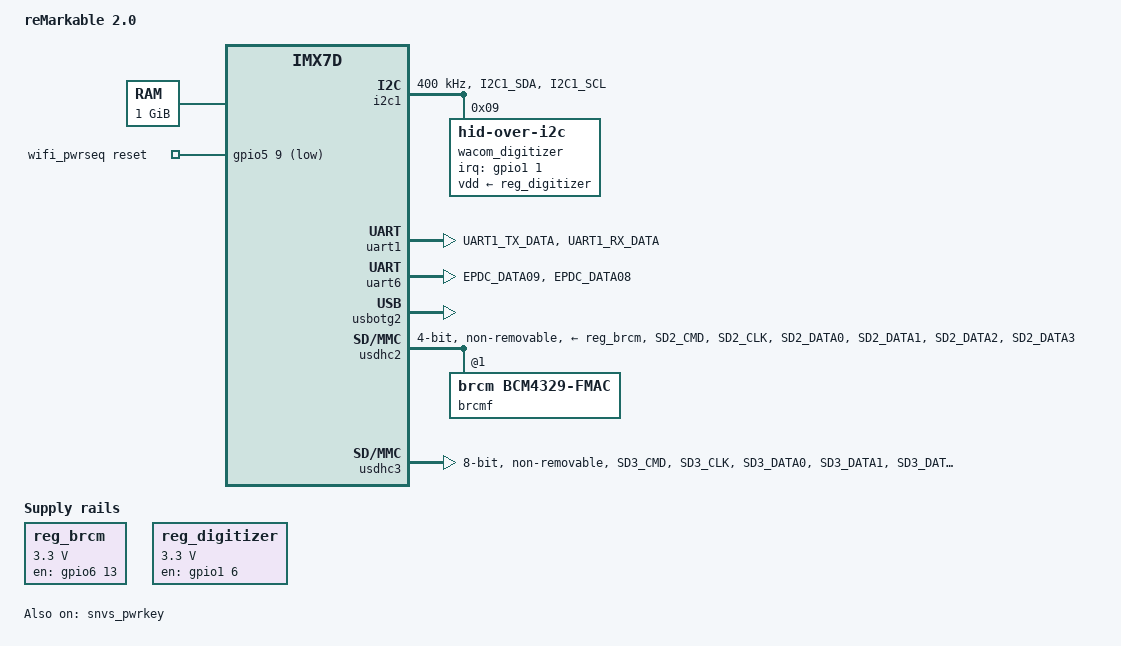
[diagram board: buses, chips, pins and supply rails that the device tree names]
// SPDX-License-Identifier: (GPL-2.0+ OR MIT)
/*
 * Copyright (C) 2015 Freescale Semiconductor, Inc.
 * Copyright (C) 2019 reMarkable AS - http://www.remarkable.com/
 *
 */

/dts-v1/;

#include "imx7d.dtsi"

/ {
	model = "reMarkable 2.0";
	compatible = "remarkable,imx7d-remarkable2", "fsl,imx7d";

	chosen {
		stdout-path = &uart6;
	};

	memory@80000000 {
		device_type = "memory";
		reg = <0x80000000 0x40000000>;
	};

	reg_brcm: regulator-brcm {
		compatible = "regulator-fixed";
		regulator-name = "brcm_reg";
		regulator-min-microvolt = <3300000>;
		regulator-max-microvolt = <3300000>;
		pinctrl-names = "default";
		pinctrl-0 = <&pinctrl_brcm_reg>;
		gpio = <&gpio6 13 GPIO_ACTIVE_HIGH>;
		enable-active-high;
		startup-delay-us = <150>;
	};

	reg_digitizer: regulator-digitizer {
		compatible = "regulator-fixed";
		regulator-name = "VDD_3V3_DIGITIZER";
		regulator-min-microvolt = <3300000>;
		regulator-max-microvolt = <3300000>;
		pinctrl-names = "default", "sleep";
		pinctrl-0 = <&pinctrl_digitizer_reg>;
		pinctrl-1 = <&pinctrl_digitizer_reg>;
		gpio = <&gpio1 6 GPIO_ACTIVE_HIGH>;
		enable-active-high;
		startup-delay-us = <100000>; /* 100 ms */
	};

	wifi_pwrseq: wifi_pwrseq {
		compatible = "mmc-pwrseq-simple";
		pinctrl-names = "default";
		pinctrl-0 = <&pinctrl_wifi>;
		reset-gpios = <&gpio5 9 GPIO_ACTIVE_LOW>;
		clocks = <&clks IMX7D_CLKO2_ROOT_DIV>;
		clock-names = "ext_clock";
	};
};

&clks {
	assigned-clocks = <&clks IMX7D_CLKO2_ROOT_SRC>,
			  <&clks IMX7D_CLKO2_ROOT_DIV>;
	assigned-clock-parents = <&clks IMX7D_CKIL>;
	assigned-clock-rates = <0>, <32768>;
};

&i2c1 {
	clock-frequency = <400000>;
	pinctrl-names = "default";
	pinctrl-0 = <&pinctrl_i2c1>;
	status = "okay";

	wacom_digitizer: digitizer@9 {
		compatible = "hid-over-i2c";
		reg = <0x09>;
		hid-descr-addr = <0x01>;
		pinctrl-names = "default";
		pinctrl-0 = <&pinctrl_wacom>;
		interrupt-parent = <&gpio1>;
		interrupts = <1 IRQ_TYPE_LEVEL_LOW>;
		touchscreen-inverted-x;
		touchscreen-inverted-y;
		vdd-supply = <&reg_digitizer>;
	};
};

&snvs_pwrkey {
	status = "okay";
};

&uart1 {
	pinctrl-names = "default";
	pinctrl-0 = <&pinctrl_uart1>;
	assigned-clocks = <&clks IMX7D_UART1_ROOT_SRC>;
	assigned-clock-parents = <&clks IMX7D_OSC_24M_CLK>;
	status = "okay";
};

&uart6 {
	pinctrl-names = "default";
	pinctrl-0 = <&pinctrl_uart6>;
	assigned-clocks = <&clks IMX7D_UART6_ROOT_SRC>;
	assigned-clock-parents = <&clks IMX7D_OSC_24M_CLK>;
	status = "okay";
};

&usbotg2 {
	srp-disable;
	hnp-disable;
	status = "okay";
};

&usdhc2 {
	#address-cells = <1>;
	#size-cells = <0>;
	pinctrl-names = "default", "state_100mhz", "state_200mhz", "sleep";
	pinctrl-0 = <&pinctrl_usdhc2>;
	pinctrl-1 = <&pinctrl_usdhc2_100mhz>;
	pinctrl-2 = <&pinctrl_usdhc2_200mhz>;
	mmc-pwrseq = <&wifi_pwrseq>;
	vmmc-supply = <&reg_brcm>;
	bus-width = <4>;
	non-removable;
	keep-power-in-suspend;
	cap-power-off-card;
	status = "okay";

	brcmf: bcrmf@1 {
		reg = <1>;
		compatible = "brcm,bcm4329-fmac";
	};
};

&usdhc3 {
	pinctrl-names = "default", "state_100mhz", "state_200mhz", "sleep";
	pinctrl-0 = <&pinctrl_usdhc3>;
	pinctrl-1 = <&pinctrl_usdhc3_100mhz>;
	pinctrl-2 = <&pinctrl_usdhc3_200mhz>;
	pinctrl-3 = <&pinctrl_usdhc3>;
	assigned-clocks = <&clks IMX7D_USDHC3_ROOT_CLK>;
	assigned-clock-rates = <400000000>;
	bus-width = <8>;
	non-removable;
	status = "okay";
};

&wdog1 {
	pinctrl-names = "default";
	pinctrl-0 = <&pinctrl_wdog>;
	fsl,ext-reset-output;
};

&iomuxc_lpsr {
	pinctrl_digitizer_reg: digitizerreggrp {
		fsl,pins = <
			/* DIGITIZER_PWR_EN */
			MX7D_PAD_LPSR_GPIO1_IO06__GPIO1_IO6	0x14
		>;
	};

	pinctrl_wacom: wacomgrp {
		fsl,pins = <
			/*MX7D_PAD_LPSR_GPIO1_IO05__GPIO1_IO5	0x00000014 FWE */
			MX7D_PAD_LPSR_GPIO1_IO04__GPIO1_IO4	0x00000074 /* PDCTB */
			MX7D_PAD_LPSR_GPIO1_IO01__GPIO1_IO1	0x00000034 /* WACOM INT */
			/*MX7D_PAD_LPSR_GPIO1_IO06__GPIO1_IO6	0x00000014 WACOM PWR ENABLE */
			/*MX7D_PAD_LPSR_GPIO1_IO00__GPIO1_IO0	0x00000074 WACOM RESET */
		>;
	};
};

&iomuxc {
	pinctrl_brcm_reg: brcmreggrp {
		fsl,pins = <
			/* WIFI_PWR_EN */
			MX7D_PAD_SAI1_TX_BCLK__GPIO6_IO13	0x14
		>;
	};

	pinctrl_i2c1: i2c1grp {
		fsl,pins = <
			MX7D_PAD_I2C1_SDA__I2C1_SDA		0x4000007f
			MX7D_PAD_I2C1_SCL__I2C1_SCL		0x4000007f
		>;
	};

	pinctrl_uart1: uart1grp {
		fsl,pins = <
			MX7D_PAD_UART1_TX_DATA__UART1_DCE_TX	0x79
			MX7D_PAD_UART1_RX_DATA__UART1_DCE_RX	0x79
		>;
	};

	pinctrl_uart6: uart6grp {
		fsl,pins = <
			MX7D_PAD_EPDC_DATA09__UART6_DCE_TX		0x79
			MX7D_PAD_EPDC_DATA08__UART6_DCE_RX		0x79
		>;
	};

	pinctrl_usdhc2: usdhc2grp {
		fsl,pins = <
			MX7D_PAD_SD2_CMD__SD2_CMD		0x59
			MX7D_PAD_SD2_CLK__SD2_CLK		0x19
			MX7D_PAD_SD2_DATA0__SD2_DATA0		0x59
			MX7D_PAD_SD2_DATA1__SD2_DATA1		0x59
			MX7D_PAD_SD2_DATA2__SD2_DATA2		0x59
			MX7D_PAD_SD2_DATA3__SD2_DATA3		0x59
		>;
	};

	pinctrl_usdhc2_100mhz: usdhc2grp_100mhz {
		fsl,pins = <
			MX7D_PAD_SD2_CMD__SD2_CMD		0x5a
			MX7D_PAD_SD2_CLK__SD2_CLK		0x1a
			MX7D_PAD_SD2_DATA0__SD2_DATA0		0x5a
			MX7D_PAD_SD2_DATA1__SD2_DATA1		0x5a
			MX7D_PAD_SD2_DATA2__SD2_DATA2		0x5a
			MX7D_PAD_SD2_DATA3__SD2_DATA3		0x5a
		>;
	};

	pinctrl_usdhc2_200mhz: usdhc2grp_200mhz {
		fsl,pins = <
			MX7D_PAD_SD2_CMD__SD2_CMD		0x5b
			MX7D_PAD_SD2_CLK__SD2_CLK		0x1b
			MX7D_PAD_SD2_DATA0__SD2_DATA0		0x5b
			MX7D_PAD_SD2_DATA1__SD2_DATA1		0x5b
			MX7D_PAD_SD2_DATA2__SD2_DATA2		0x5b
			MX7D_PAD_SD2_DATA3__SD2_DATA3		0x5b
		>;
	};

	pinctrl_usdhc3: usdhc3grp {
		fsl,pins = <
			MX7D_PAD_SD3_CMD__SD3_CMD		0x59
			MX7D_PAD_SD3_CLK__SD3_CLK		0x19
			MX7D_PAD_SD3_DATA0__SD3_DATA0		0x59
			MX7D_PAD_SD3_DATA1__SD3_DATA1		0x59
			MX7D_PAD_SD3_DATA2__SD3_DATA2		0x59
			MX7D_PAD_SD3_DATA3__SD3_DATA3		0x59
			MX7D_PAD_SD3_DATA4__SD3_DATA4		0x59
			MX7D_PAD_SD3_DATA5__SD3_DATA5		0x59
			MX7D_PAD_SD3_DATA6__SD3_DATA6		0x59
			MX7D_PAD_SD3_DATA7__SD3_DATA7		0x59
			MX7D_PAD_SD3_STROBE__SD3_STROBE		0x19
		>;
	};

	pinctrl_usdhc3_100mhz: usdhc3grp_100mhz {
		fsl,pins = <
			MX7D_PAD_SD3_CMD__SD3_CMD		0x5a
			MX7D_PAD_SD3_CLK__SD3_CLK		0x1a
			MX7D_PAD_SD3_DATA0__SD3_DATA0		0x5a
			MX7D_PAD_SD3_DATA1__SD3_DATA1		0x5a
			MX7D_PAD_SD3_DATA2__SD3_DATA2		0x5a
			MX7D_PAD_SD3_DATA3__SD3_DATA3		0x5a
			MX7D_PAD_SD3_DATA4__SD3_DATA4		0x5a
			MX7D_PAD_SD3_DATA5__SD3_DATA5		0x5a
			MX7D_PAD_SD3_DATA6__SD3_DATA6		0x5a
			MX7D_PAD_SD3_DATA7__SD3_DATA7		0x5a
			MX7D_PAD_SD3_STROBE__SD3_STROBE		0x1a
		>;
	};

	pinctrl_usdhc3_200mhz: usdhc3grp_200mhz {
		fsl,pins = <
			MX7D_PAD_SD3_CMD__SD3_CMD		0x5b
			MX7D_PAD_SD3_CLK__SD3_CLK		0x1b
			MX7D_PAD_SD3_DATA0__SD3_DATA0		0x5b
			MX7D_PAD_SD3_DATA1__SD3_DATA1		0x5b
			MX7D_PAD_SD3_DATA2__SD3_DATA2		0x5b
			MX7D_PAD_SD3_DATA3__SD3_DATA3		0x5b
			MX7D_PAD_SD3_DATA4__SD3_DATA4		0x5b
			MX7D_PAD_SD3_DATA5__SD3_DATA5		0x5b
			MX7D_PAD_SD3_DATA6__SD3_DATA6		0x5b
			MX7D_PAD_SD3_DATA7__SD3_DATA7		0x5b
			MX7D_PAD_SD3_STROBE__SD3_STROBE		0x1b
		>;
	};

	pinctrl_wdog: wdoggrp {
		fsl,pins = <
			MX7D_PAD_ENET1_COL__WDOG1_WDOG_ANY	0x74
		>;
	};

	pinctrl_wifi: wifigrp {
		fsl,pins = <
			/* WiFi Reg On */
			MX7D_PAD_SD2_CD_B__GPIO5_IO9		0x00000014
			/* WiFi Sleep 32k */
			MX7D_PAD_SD1_WP__CCM_CLKO2		0x00000014
		>;
	};
};
